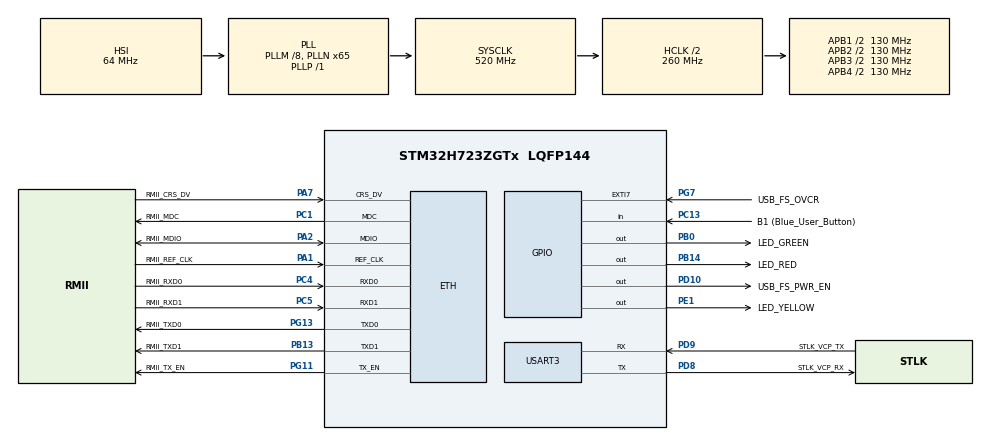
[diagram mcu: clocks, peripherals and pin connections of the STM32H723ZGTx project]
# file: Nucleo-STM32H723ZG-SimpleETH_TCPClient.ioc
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CORTEX_M7.AccessPermission-Cortex_Memory_Protection_Unit_Region0_Settings=MPU_REGION_FULL_ACCESS
CORTEX_M7.AccessPermission-Cortex_Memory_Protection_Unit_Region1_Settings=MPU_REGION_FULL_ACCESS
CORTEX_M7.BaseAddress-Cortex_Memory_Protection_Unit_Region0_Settings=0x30000000
CORTEX_M7.BaseAddress-Cortex_Memory_Protection_Unit_Region1_Settings=0x30004000
CORTEX_M7.CPU_DCache=Enabled
CORTEX_M7.CPU_ICache=Enabled
CORTEX_M7.Enable-Cortex_Memory_Protection_Unit_Region0_Settings=MPU_REGION_ENABLE
CORTEX_M7.Enable-Cortex_Memory_Protection_Unit_Region1_Settings=MPU_REGION_ENABLE
CORTEX_M7.IsBufferable-Cortex_Memory_Protection_Unit_Region0_Settings=MPU_ACCESS_BUFFERABLE
CORTEX_M7.IsShareable-Cortex_Memory_Protection_Unit_Region1_Settings=MPU_ACCESS_SHAREABLE
CORTEX_M7.MPU_Control=MPU_PRIVILEGED_DEFAULT
CORTEX_M7.Size-Cortex_Memory_Protection_Unit_Region0_Settings=MPU_REGION_SIZE_256B
CORTEX_M7.Size-Cortex_Memory_Protection_Unit_Region1_Settings=MPU_REGION_SIZE_16KB
CORTEX_M7.TypeExtField-Cortex_Memory_Protection_Unit_Region1_Settings=MPU_TEX_LEVEL1
ETH.MediaInterface=HAL_ETH_RMII_MODE
ETH.RxBuffAddress=0x30000200
ETH.RxDescAddress=0x30000000
ETH.TxDescAddress=0x30000060
LWIP.BSP.number=1
LWIP.LWIP_HTTPD=1
LWIP.LWIP_HTTPD_SUPPORT_POST=1
LWIP.LWIP_RAM_HEAP_POINTER=0x30004000
LWIP.MEM_SIZE=16360
LWIP.Version=v2.1.2_Cube
LWIP0.BSP.STBoard=false
LWIP0.BSP.api=BSP_COMPONENT_DRIVER
LWIP0.BSP.component=LAN8742
LWIP0.BSP.instance=LAN8742
LWIP0.BSP.name=Driver_PHY
LWIP0.BSP.solution=LAN8742
Mcu.Family=STM32H7
Mcu.Name=STM32H723ZGTx
Mcu.Package=LQFP144
NVIC.PriorityGroup=NVIC_PRIORITYGROUP_4
NVIC.RTC_WKUP_IRQn=true\:0\:0\:false\:false\:true\:true\:true\:true
PA1.GPIO_Label=RMII_REF_CLK
PA1.Mode=RMII
PA1.Signal=ETH_REF_CLK
PA10.GPIO_Label=USB_FS_ID
PA10.Signal=USB_OTG_HS_ID
PA13(JTMS/SWDIO).GPIO_Label=SWDIO
PA13(JTMS/SWDIO).Mode=Trace_Asynchronous_SW
PA13(JTMS/SWDIO).Signal=DEBUG_JTMS-SWDIO
PA14(JTCK/SWCLK).GPIO_Label=SWCLK
PA14(JTCK/SWCLK).Mode=Trace_Asynchronous_SW
PA14(JTCK/SWCLK).Signal=DEBUG_JTCK-SWCLK
PA2.GPIO_Label=RMII_MDIO
PA2.Mode=RMII
PA2.Signal=ETH_MDIO
PA7.GPIO_Label=RMII_CRS_DV
PA7.Mode=RMII
PA7.Signal=ETH_CRS_DV
PA9.GPIO_Label=USB_FS_VBUS
PA9.Signal=USB_OTG_HS_VBUS
PB0.GPIO_Label=LED_GREEN
PB0.Signal=GPIO_Output
PB13.GPIO_Label=RMII_TXD1
PB13.Mode=RMII
PB13.Signal=ETH_TXD1
PB14.GPIO_Label=LED_RED
PB14.Signal=GPIO_Output
PB3(JTDO/TRACESWO).GPIO_Label=SWO
PB3(JTDO/TRACESWO).Mode=Trace_Asynchronous_SW
PB3(JTDO/TRACESWO).Signal=DEBUG_JTDO-SWO
PC1.GPIO_Label=RMII_MDC
PC1.Mode=RMII
PC1.Signal=ETH_MDC
PC13.GPIO_Label=B1 (Blue_User_Button)
PC13.Signal=GPIO_Input
PC14-OSC32_IN.Mode=LSE-External-Oscillator
PC14-OSC32_IN.Signal=RCC_OSC32_IN
PC15-OSC32_OUT.Mode=LSE-External-Oscillator
PC15-OSC32_OUT.Signal=RCC_OSC32_OUT
PC4.GPIO_Label=RMII_RXD0
PC4.Mode=RMII
PC4.Signal=ETH_RXD0
PC5.GPIO_Label=RMII_RXD1
PC5.Mode=RMII
PC5.Signal=ETH_RXD1
PD10.GPIO_Label=USB_FS_PWR_EN
PD10.Signal=GPIO_Output
PD8.GPIO_Label=STLK_VCP_RX
PD8.Mode=Asynchronous
PD8.Signal=USART3_TX
PD9.GPIO_Label=STLK_VCP_TX
PD9.Mode=Asynchronous
PD9.Signal=USART3_RX
PE1.GPIO_Label=LED_YELLOW
PE1.Signal=GPIO_Output
PG11.GPIO_Label=RMII_TX_EN
PG11.Mode=RMII
PG11.Signal=ETH_TX_EN
PG13.GPIO_Label=RMII_TXD0
PG13.Mode=RMII
PG13.Signal=ETH_TXD0
PG7.GPIO_Label=USB_FS_OVCR
PG7.Signal=GPXTI7
PH0-OSC_IN.GPIO_Label=MCO
PH0-OSC_IN.Mode=HSE-External-Clock-Source
PH0-OSC_IN.Signal=RCC_OSC_IN
PH1-OSC_OUT.Signal=RCC_OSC_OUT
ProjectManager.HeapSize=0x200
ProjectManager.StackSize=0x400
ProjectManager.TargetToolchain=STM32CubeIDE
RCC.ADCFreq_Value=608000000
RCC.APB1Freq_Value=130000000
RCC.APB2Freq_Value=130000000
RCC.APB3Freq_Value=130000000
RCC.APB4Freq_Value=130000000
RCC.CortexFreq_Value=520000000
RCC.D1PPRE=RCC_APB3_DIV2
RCC.D2PPRE1=RCC_APB1_DIV2
RCC.D2PPRE2=RCC_APB2_DIV2
RCC.D3PPRE=RCC_APB4_DIV2
RCC.DIVM1=8
RCC.DIVM2=1
RCC.DIVN1=65
RCC.DIVN2=19
RCC.DIVP1=1
RCC.DIVQ1=4
RCC.HCLKFreq_Value=260000000
RCC.HPRE=RCC_HCLK_DIV2
RCC.HSE_VALUE=8000000
RCC.PLLFRACN=0
RCC.SYSCLKFreq_VALUE=520000000
RCC.SYSCLKSource=RCC_SYSCLKSOURCE_PLLCLK
RCC.USBCLockSelection=RCC_USBCLKSOURCE_HSI48
RCC.USBFreq_Value=48000000
RTC.Date=7
RTC.Hours=14
RTC.WakeUpCounter-WakeUp=20000
RTC.Year=21
USART3.VirtualMode-Asynchronous=VM_ASYNC
VP_LWIP_VS_Enabled.Mode=Enabled
VP_RTC_VS_RTC_Activate.Mode=RTC_Enabled
VP_RTC_VS_RTC_Calendar.Mode=RTC_Calendar
VP_RTC_VS_RTC_WakeUp_intern.Mode=WakeUp
board=NUCLEO-H723ZG

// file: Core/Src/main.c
/* USER CODE BEGIN Header */
/**
  ******************************************************************************
  * @file           : main.c
  * @brief          : Main program body
  ******************************************************************************
  * @attention
  *
  * <h2><center>&copy; Copyright (c) 2021 STMicroelectronics.
  * All rights reserved.</center></h2>
  *
  * This software component is licensed by ST under BSD 3-Clause license,
  * the "License"; You may not use this file except in compliance with the
  * License. You may obtain a copy of the License at:
  *                        opensource.org/licenses/BSD-3-Clause
  *
  ******************************************************************************
  */
/* USER CODE END Header */
#include "main.h"
#include "lwip.h"
#include "usart.h"
#include "gpio.h"

/* USER CODE BEGIN Includes */
#include "tcp_client.h"
#include <stdio.h>
#include <string.h>
#include "rtc.h"

/* USER CODE END Includes */

void SystemClock_Config(void);
static void MPU_Config(void);

/* USER CODE BEGIN 0 */
void BackupDateToBR(void);

RTC_TimeTypeDef RtcTime;
RTC_DateTypeDef RtcDate;
uint16_t Milliseconds;

uint8_t CompareMilliseconds;
uint8_t CompareDate;

uint8_t Message[64];
uint8_t MessageLen;

void BackupDateToBR(void)
{
	HAL_RTCEx_BKUPWrite(&hrtc, RTC_BKP_DR2, ((RtcDate.Date << 8) | (RtcDate.Month)));
	HAL_RTCEx_BKUPWrite(&hrtc, RTC_BKP_DR3, ((RtcDate.Year << 8) | (RtcDate.WeekDay)));
}

void SetRTC(RTC_TimeTypeDef* sTime, 	RTC_DateTypeDef* DateToUpdate)
{

	if (HAL_RTC_SetTime(&hrtc, sTime, RTC_FORMAT_BIN) != HAL_OK)
	{
	  Error_Handler();
	}

	if (HAL_RTC_SetDate(&hrtc, DateToUpdate, RTC_FORMAT_BIN) != HAL_OK)
	{
	  Error_Handler();
	}

	BackupDateToBR();
}

void ClearStandbyFlags()
{

	  if (__HAL_PWR_GET_FLAG(PWR_FLAG_SB) != RESET)  //jesli wstal z stadby
	  {
		  __HAL_PWR_CLEAR_FLAG(PWR_FLAG_SB);
		  HAL_RTCEx_DeactivateWakeUpTimer(&hrtc);
			 __HAL_RTC_WAKEUPTIMER_CLEAR_FLAG(&hrtc, RTC_FLAG_WUTF);
	  }
	  	  else
	  	  	  {
		 MX_RTC_Init();
			}
}

void EnterStandbyByMe(uint16_t time)
{
	float t_helper=0;

	t_helper=time/0.0005;

	  if (HAL_RTCEx_SetWakeUpTimer_IT(&hrtc,(uint16_t)t_helper, RTC_WAKEUPCLOCK_RTCCLK_DIV16) != HAL_OK)
	  {
	    Error_Handler();
	  }
	  HAL_PWR_EnterSTANDBYMode();
}

/* USER CODE END 0 */

int main(void)
{

  /* MPU Configuration--------------------------------------------------------*/
  MPU_Config();

  /* Enable I-Cache---------------------------------------------------------*/
  SCB_EnableICache();

  /* Enable D-Cache---------------------------------------------------------*/
  SCB_EnableDCache();

  /* MCU Configuration--------------------------------------------------------*/

  /* Reset of all peripherals, Initializes the Flash interface and the Systick. */
  HAL_Init();

  /* Configure the system clock */
  SystemClock_Config();

  /* Initialize all configured peripherals */
  MX_GPIO_Init();
  MX_LWIP_Init();
  MX_USART3_UART_Init();
  /* USER CODE BEGIN 2 */
  MX_RTC_Init();  // -< I modified this function so much...

  SCB_CleanInvalidateDCache();

 // ClearStandbyFlags();

  HAL_RTC_GetTime(&hrtc, &RtcTime, RTC_FORMAT_BIN);
  HAL_RTC_GetDate(&hrtc, &RtcDate, RTC_FORMAT_BIN);

  TCPclientStart(80);//2002//7
  uint32_t YellowLedTime=0;

  /* USER CODE END 2 */

  /* Infinite loop */
  /* USER CODE BEGIN WHILE */
  while (1)
  {
	  MX_LWIP_Process ();   //I don't use it its only for LwIP stack driver!
	  if(HAL_GetTick() - YellowLedTime > 1000)//1000
	  {
		  YellowLedTime=HAL_GetTick();
		  HAL_GPIO_TogglePin(LED_YELLOW_GPIO_Port, LED_YELLOW_Pin);
//		  HAL_UART_Transmit(&huart3,(uint8_t*) "HHHfnfhmvbnccv\n\r", 20, 100);
//		  HAL_UART_Transmit(&huart3,(uint8_t*) "HHH\n\r", sizeof("LLL\n\r")-1, 100);
	  }
    /* USER CODE END WHILE */

  }
}

void SystemClock_Config(void)
{
  RCC_OscInitTypeDef RCC_OscInitStruct = {0};
  RCC_ClkInitTypeDef RCC_ClkInitStruct = {0};

  /** Supply configuration update enable
  */
  HAL_PWREx_ConfigSupply(PWR_LDO_SUPPLY);
  /** Configure the main internal regulator output voltage
  */
  __HAL_PWR_VOLTAGESCALING_CONFIG(PWR_REGULATOR_VOLTAGE_SCALE0);

  while(!__HAL_PWR_GET_FLAG(PWR_FLAG_VOSRDY)) {}
  /** Initializes the RCC Oscillators according to the specified parameters
  * in the RCC_OscInitTypeDef structure.
  */
  RCC_OscInitStruct.OscillatorType = RCC_OSCILLATORTYPE_HSI|RCC_OSCILLATORTYPE_LSI;
  RCC_OscInitStruct.HSIState = RCC_HSI_DIV1;
  RCC_OscInitStruct.HSICalibrationValue = RCC_HSICALIBRATION_DEFAULT;
  RCC_OscInitStruct.LSIState = RCC_LSI_ON;
  RCC_OscInitStruct.PLL.PLLState = RCC_PLL_ON;
  RCC_OscInitStruct.PLL.PLLSource = RCC_PLLSOURCE_HSI;
  RCC_OscInitStruct.PLL.PLLM = 8;
  RCC_OscInitStruct.PLL.PLLN = 65;
  RCC_OscInitStruct.PLL.PLLP = 1;
  RCC_OscInitStruct.PLL.PLLQ = 4;
  RCC_OscInitStruct.PLL.PLLR = 2;
  RCC_OscInitStruct.PLL.PLLRGE = RCC_PLL1VCIRANGE_3;
  RCC_OscInitStruct.PLL.PLLVCOSEL = RCC_PLL1VCOWIDE;
  RCC_OscInitStruct.PLL.PLLFRACN = 0;
  if (HAL_RCC_OscConfig(&RCC_OscInitStruct) != HAL_OK)
  {
    Error_Handler();
  }
  /** Initializes the CPU, AHB and APB buses clocks
  */
  RCC_ClkInitStruct.ClockType = RCC_CLOCKTYPE_HCLK|RCC_CLOCKTYPE_SYSCLK
                              |RCC_CLOCKTYPE_PCLK1|RCC_CLOCKTYPE_PCLK2
                              |RCC_CLOCKTYPE_D3PCLK1|RCC_CLOCKTYPE_D1PCLK1;
  RCC_ClkInitStruct.SYSCLKSource = RCC_SYSCLKSOURCE_PLLCLK;
  RCC_ClkInitStruct.SYSCLKDivider = RCC_SYSCLK_DIV1;
  RCC_ClkInitStruct.AHBCLKDivider = RCC_HCLK_DIV2;
  RCC_ClkInitStruct.APB3CLKDivider = RCC_APB3_DIV2;
  RCC_ClkInitStruct.APB1CLKDivider = RCC_APB1_DIV2;
  RCC_ClkInitStruct.APB2CLKDivider = RCC_APB2_DIV2;
  RCC_ClkInitStruct.APB4CLKDivider = RCC_APB4_DIV2;

  if (HAL_RCC_ClockConfig(&RCC_ClkInitStruct, FLASH_LATENCY_3) != HAL_OK)
  {
    Error_Handler();
  }
}

/* MPU Configuration */

void MPU_Config(void)
{
  MPU_Region_InitTypeDef MPU_InitStruct = {0};

  /* Disables the MPU */
  HAL_MPU_Disable();
  /** Initializes and configures the Region and the memory to be protected
  */
  MPU_InitStruct.Enable = MPU_REGION_ENABLE;
  MPU_InitStruct.Number = MPU_REGION_NUMBER0;
  MPU_InitStruct.BaseAddress = 0x30000000;
  MPU_InitStruct.Size = MPU_REGION_SIZE_256B;
  MPU_InitStruct.SubRegionDisable = 0x0;
  MPU_InitStruct.TypeExtField = MPU_TEX_LEVEL0;
  MPU_InitStruct.AccessPermission = MPU_REGION_FULL_ACCESS;
  MPU_InitStruct.DisableExec = MPU_INSTRUCTION_ACCESS_ENABLE;
  MPU_InitStruct.IsShareable = MPU_ACCESS_NOT_SHAREABLE;
  MPU_InitStruct.IsCacheable = MPU_ACCESS_NOT_CACHEABLE;
  MPU_InitStruct.IsBufferable = MPU_ACCESS_BUFFERABLE;

  HAL_MPU_ConfigRegion(&MPU_InitStruct);
  /** Initializes and configures the Region and the memory to be protected
  */
  MPU_InitStruct.Number = MPU_REGION_NUMBER1;
  MPU_InitStruct.BaseAddress = 0x30004000;
  MPU_InitStruct.Size = MPU_REGION_SIZE_16KB;
  MPU_InitStruct.TypeExtField = MPU_TEX_LEVEL1;
  MPU_InitStruct.IsShareable = MPU_ACCESS_SHAREABLE;
  MPU_InitStruct.IsBufferable = MPU_ACCESS_NOT_BUFFERABLE;

  HAL_MPU_ConfigRegion(&MPU_InitStruct);
  /* Enables the MPU */
  HAL_MPU_Enable(MPU_PRIVILEGED_DEFAULT);

}

void Error_Handler(void)
{
  __disable_irq();
  while (1)
  {
  }
}

/************************ (C) COPYRIGHT STMicroelectronics *****END OF FILE****/
